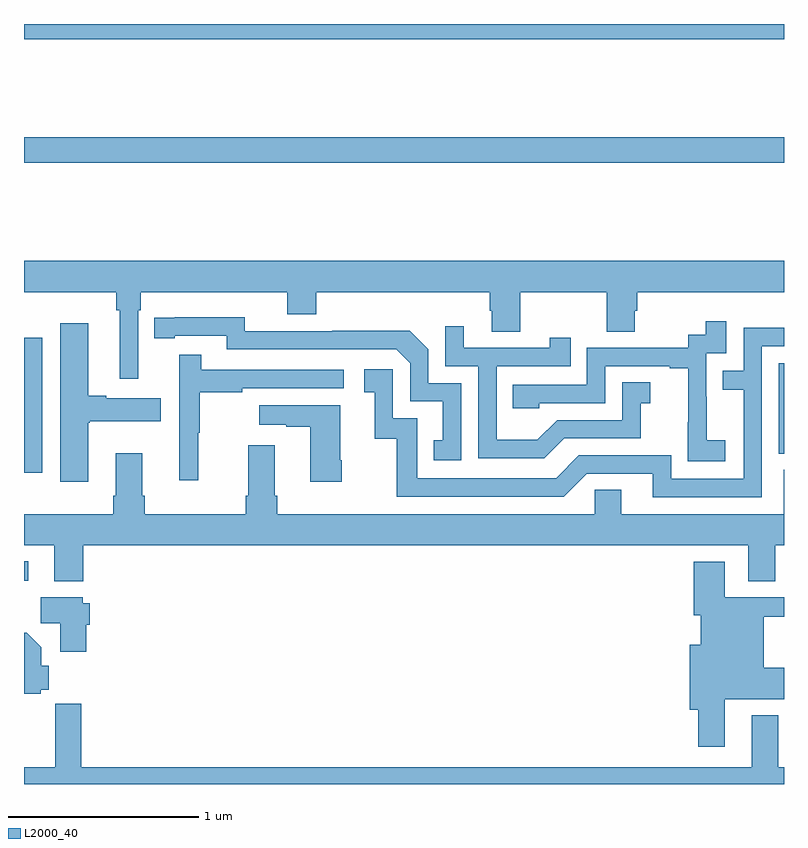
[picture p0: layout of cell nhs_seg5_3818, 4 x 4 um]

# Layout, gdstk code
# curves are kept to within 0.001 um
import gdstk
lib = gdstk.Library(unit=1e-6, precision=1e-09)
def R(c, l, rs):  # rectangles x0, y0, x1, y1
    for r in rs: c.add(gdstk.rectangle(r[:2], r[2:], *l))
def P(c, l, *ps):  # polygons
    for p in ps: c.add(gdstk.Polygon(p, *l))
L2000_40 = (2000, 40)

nhs_seg5_3818 = lib.new_cell('nhs_seg5_3818')
R(nhs_seg5_3818, L2000_40, [(335,893.868,335.023,893.971), (338.973,894.537,339,895.014), (335,896.068,339,896.204), (335,896.72,339,896.799)])
P(nhs_seg5_3818, L2000_40, [(335.601,895.292),(335.615,895.292),(335.615,895.388),(336.386,895.388),(336.386,895.271),(336.539,895.271),(336.539,895.388),(337.451,895.388),(337.451,895.29),(337.463,895.29),(337.463,895.18),(337.611,895.18),(337.611,895.388),(338.068,895.388),(338.068,895.18),(338.215,895.18),(338.215,895.29),(338.228,895.29),(338.228,895.388),(339,895.388),(339,895.552),(335,895.552),(335,895.388),(335.485,895.388),(335.485,895.292),(335.504,895.292),(335.504,894.933),(335.601,894.933)],
  [(337.302,894.909),(337.128,894.909),(337.128,895.086),(337.03,895.184),(336.622,895.184),(336.622,895.182),(336.162,895.182),(336.162,895.255),(335.686,895.254),(335.686,895.146),(335.794,895.146),(335.794,895.158),(336.066,895.158),(336.066,895.086),(336.96,895.086),(337.032,895.014),(337.032,894.813),(337.205,894.813),(337.205,894.609),(337.156,894.609),(337.156,894.504),(337.302,894.504)],
  [(338.692,894.607),(338.594,894.607),(338.594,894.836),(338.592,894.836),(338.592,895.065),(338.697,895.065),(338.697,895.234),(338.589,895.234),(338.589,895.164),(338.496,895.164),(338.496,895.095),(337.962,895.095),(337.962,894.9),(337.573,894.9),(337.573,894.777),(337.713,894.777),(337.713,894.804),(338.058,894.804),(338.058,894.999),(338.399,894.999),(338.399,894.987),(338.495,894.987),(338.495,894.703),(338.494,894.703),(338.494,894.497),(338.692,894.497)],
  [(335.338,894.7),(335.346,894.7),(335.346,894.707),(335.719,894.707),(335.719,894.829),(335.434,894.829),(335.434,894.842),(335.338,894.842),(335.338,895.225),(335.192,895.225),(335.192,894.39),(335.338,894.39)],
  [(337.843,894.618),(338.247,894.618),(338.247,894.803),(338.296,894.803),(338.296,894.913),(338.148,894.913),(338.148,894.714),(337.806,894.714),(337.702,894.61),(337.488,894.61),(337.488,894.999),(337.877,894.999),(337.877,895.147),(337.766,895.147),(337.766,895.095),(337.315,895.095),(337.315,895.207),(337.218,895.207),(337.218,894.999),(337.392,894.999),(337.392,894.513),(337.738,894.513)],
  [(338.883,895.104),(339,895.104),(339,895.2),(338.787,895.2),(338.787,894.975),(338.677,894.975),(338.677,894.874),(338.787,894.874),(338.787,894.405),(338.406,894.405),(338.406,894.528),(337.92,894.528),(337.8,894.408),(337.071,894.408),(337.071,894.723),(336.942,894.723),(336.942,894.982),(336.792,894.982),(336.792,894.861),(336.845,894.861),(336.845,894.615),(336.963,894.615),(336.963,894.312),(337.842,894.312),(337.962,894.432),(338.309,894.432),(338.309,894.309),(338.883,894.309)],
  [(335.097,895.147),(335,895.147),(335,894.991),(335.001,894.991),(335.001,894.534),(335,894.534),(335,894.437),(335.097,894.437)],
  [(335.918,894.648),(335.926,894.648),(335.926,894.862),(336.149,894.862),(336.149,894.882),(336.682,894.882),(336.682,894.978),(335.933,894.978),(335.933,895.057),(335.817,895.057),(335.817,894.611),(335.816,894.611),(335.816,894.399),(335.918,894.399)],
  [(336.672,894.502),(336.664,894.502),(336.664,894.793),(336.237,894.793),(336.237,894.689),(336.38,894.689),(336.38,894.679),(336.506,894.679),(336.506,894.39),(336.672,894.39)],
  [(338.953,894.056),(339,894.056),(339,894.452),(338.999,894.452),(338.999,894.22),(338.143,894.22),(338.143,894.347),(338.004,894.347),(338.004,894.22),(336.332,894.22),(336.332,894.316),(336.319,894.316),(336.319,894.583),(336.179,894.583),(336.179,894.316),(336.167,894.316),(336.167,894.22),(335.636,894.22),(335.636,894.316),(335.623,894.316),(335.623,894.541),(335.483,894.541),(335.483,894.316),(335.471,894.316),(335.471,894.22),(335,894.22),(335,894.056),(335.159,894.056),(335.159,893.867),(335.312,893.867),(335.312,894.056),(338.813,894.056),(338.813,893.866),(338.953,893.866)],
  [(338.689,893.246),(339,893.246),(339,893.41),(338.893,893.41),(338.893,893.68),(339,893.68),(339,893.781),(338.689,893.781),(338.689,893.968),(338.525,893.968),(338.525,893.688),(338.561,893.688),(338.561,893.533),(338.504,893.533),(338.504,893.189),(338.549,893.189),(338.549,892.995),(338.689,892.995)],
  [(335.327,893.637),(335.345,893.637),(335.345,893.751),(335.31,893.751),(335.31,893.782),(335.087,893.782),(335.087,893.644),(335.192,893.644),(335.192,893.496),(335.327,893.496)],
  [(335.088,893.294),(335.131,893.294),(335.131,893.422),(335.092,893.422),(335.092,893.518),(335.014,893.596),(335,893.596),(335,893.275),(335.088,893.275)],
  [(339,892.888),(338.971,892.888),(338.971,893.161),(338.831,893.161),(338.831,892.888),(335.3,892.888),(335.3,893.221),(335.165,893.221),(335.165,893.108),(335.164,893.108),(335.164,892.888),(335,892.888),(335,892.799),(339,892.799)])

lib.write_gds('nhs_seg5_3818.gds')
